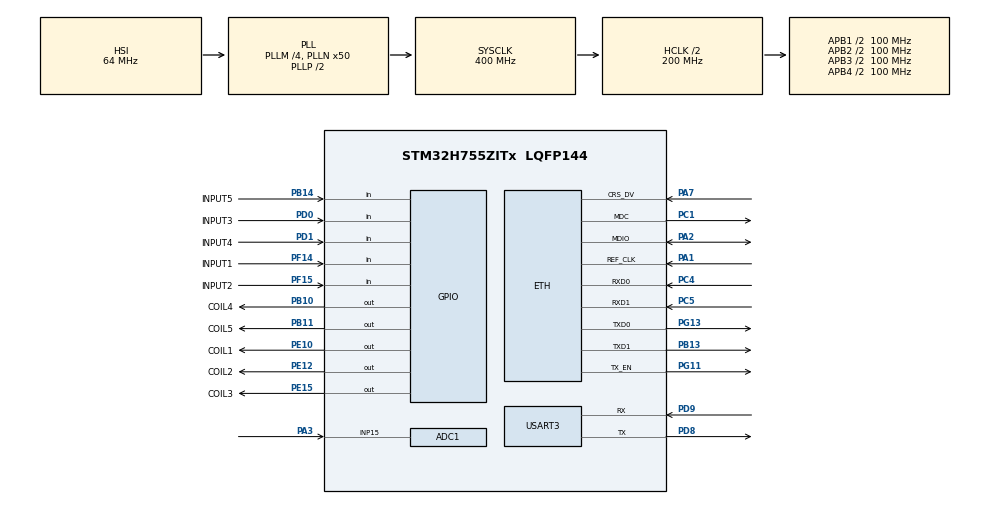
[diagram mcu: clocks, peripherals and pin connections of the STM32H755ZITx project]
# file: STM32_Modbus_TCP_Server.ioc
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ADC1.Channel-0\#ChannelRegularConversion=ADC_CHANNEL_15
ADC1.NbrOfConversionFlag=1
ADC1.OffsetNumber-0\#ChannelRegularConversion=ADC_OFFSET_NONE
ADC1.OffsetSignedSaturation-0\#ChannelRegularConversion=DISABLE
ADC1.Rank-0\#ChannelRegularConversion=1
ADC1.SamplingTime-0\#ChannelRegularConversion=ADC_SAMPLETIME_1CYCLE_5
ADC1.master=1
CORTEX_M7.AccessPermission_S-Cortex_Memory_Protection_Unit_Region1_Settings_S=MPU_REGION_FULL_ACCESS
CORTEX_M7.BaseAddress_S-Cortex_Memory_Protection_Unit_Region1_Settings_S=0x30000000
CORTEX_M7.CPU_DCache=Enabled
CORTEX_M7.CPU_ICache=Enabled
CORTEX_M7.DisableExec_S-Cortex_Memory_Protection_Unit_Region1_Settings_S=MPU_INSTRUCTION_ACCESS_DISABLE
CORTEX_M7.Enable_S-Cortex_Memory_Protection_Unit_Region1_Settings_S=MPU_REGION_ENABLE
CORTEX_M7.IsShareable_S-Cortex_Memory_Protection_Unit_Region1_Settings_S=MPU_ACCESS_SHAREABLE
CORTEX_M7.Size_S-Cortex_Memory_Protection_Unit_Region1_Settings_S=MPU_REGION_SIZE_32KB
CORTEX_M7.TypeExtField_S-Cortex_Memory_Protection_Unit_Region1_Settings_S=MPU_TEX_LEVEL1
CORTEX_M7.default_mode_Activation=1
CortexM4.IPs=FATFS_M4\:I,FREERTOS_M4\:I,IWDG2\:I,RCC,WWDG2\:I,DMA,BDMA,MDMA,NVIC2\:I,DEBUG,PDM2PCM_M4\:I,PWR,RESMGR_UTILITY,SYS_M4\:I,USB_DEVICE_M4\:I,USB_HOST_M4\:I,CORTEX_M4\:I,GPIO,OPENAMP_M4\:I,VREFBUF,NUCLEO-H755ZI-Q
CortexM7.IPs=FATFS_M7\:I,FREERTOS_M7\:I,IWDG1\:I,RCC\:I,WWDG1\:I,DMA\:I,BDMA\:I,MDMA\:I,NVIC1\:I,ETH\:I,USART3\:I,SYS\:I,CORTEX_M7\:I,DEBUG\:I,PDM2PCM_M7\:I,PWR\:I,RESMGR_UTILITY\:I,USB_DEVICE_M7\:I,USB_HOST_M7\:I,GPIO\:I,OPENAMP_M7\:I,VREFBUF\:I,NUCLEO-H755ZI-Q\:I,LWIP\:I,ADC1\:I
CortexM7.Pins=PF14,PF15,PE10,PE12,PE15,PB10,PB11,PB14,PD0,PD1
ETH.MediaInterface=HAL_ETH_RMII_MODE
LWIP.BSP.number=1
LWIP.GATEWAY_ADDRESS=192.168.001.001
LWIP.IP_ADDRESS=192.168.001.100
LWIP.LWIP_DHCP=0
LWIP.LWIP_RAM_HEAP_POINTER=0x30004900
LWIP.MEM_SIZE=10*1024
LWIP.NETMASK_ADDRESS=255.255.255.000
LWIP.Version=v2.2.1_Cube
LWIP0.BSP.STBoard=false
LWIP0.BSP.api=BSP_COMPONENT_DRIVER
LWIP0.BSP.component=LAN8742
LWIP0.BSP.instance=LAN8742
LWIP0.BSP.name=Driver_PHY
LWIP0.BSP.semaphore=S_LAN8742
LWIP0.BSP.solution=LAN8742
Mcu.Family=STM32H7
Mcu.Name=STM32H755ZITx
Mcu.Package=LQFP144
NVIC1.PriorityGroup=NVIC_PRIORITYGROUP_4
NVIC2.PriorityGroup=NVIC_PRIORITYGROUP_4
PA1.Mode=RMII
PA1.PinAttribute=CortexM7
PA1.Signal=ETH_REF_CLK
PA2.Mode=RMII
PA2.PinAttribute=CortexM7
PA2.Signal=ETH_MDIO
PA3.PinAttribute=CortexM7
PA3.Signal=ADCx_INP15
PA7.Mode=RMII
PA7.PinAttribute=CortexM7
PA7.Signal=ETH_CRS_DV
PB10.GPIO_Label=COIL4
PB10.PinAttribute=CortexM7
PB10.Signal=GPIO_Output
PB11.GPIO_Label=COIL5
PB11.PinAttribute=CortexM7
PB11.Signal=GPIO_Output
PB13.Mode=RMII
PB13.PinAttribute=CortexM7
PB13.Signal=ETH_TXD1
PB14.GPIO_Label=INPUT5
PB14.GPIO_PuPd=GPIO_PULLUP
PB14.PinAttribute=CortexM7
PB14.Signal=GPIO_Input
PC1.Mode=RMII
PC1.PinAttribute=CortexM7
PC1.Signal=ETH_MDC
PC4.Mode=RMII
PC4.PinAttribute=CortexM7
PC4.Signal=ETH_RXD0
PC5.Mode=RMII
PC5.PinAttribute=CortexM7
PC5.Signal=ETH_RXD1
PD0.GPIO_Label=INPUT3
PD0.GPIO_PuPd=GPIO_PULLUP
PD0.PinAttribute=CortexM7
PD0.Signal=GPIO_Input
PD1.GPIO_Label=INPUT4
PD1.GPIO_PuPd=GPIO_PULLUP
PD1.PinAttribute=CortexM7
PD1.Signal=GPIO_Input
PD8.Mode=Asynchronous
PD8.PinAttribute=CortexM7
PD8.Signal=USART3_TX
PD9.Mode=Asynchronous
PD9.PinAttribute=CortexM7
PD9.Signal=USART3_RX
PE10.GPIO_Label=COIL1
PE10.PinAttribute=CortexM7
PE10.Signal=GPIO_Output
PE12.GPIO_Label=COIL2
PE12.PinAttribute=CortexM7
PE12.Signal=GPIO_Output
PE15.GPIO_Label=COIL3
PE15.PinAttribute=CortexM7
PE15.Signal=GPIO_Output
PF14.GPIO_Label=INPUT1
PF14.GPIO_PuPd=GPIO_PULLUP
PF14.PinAttribute=CortexM7
PF14.Signal=GPIO_Input
PF15.GPIO_Label=INPUT2
PF15.GPIO_PuPd=GPIO_PULLUP
PF15.PinAttribute=CortexM7
PF15.Signal=GPIO_Input
PG11.Mode=RMII
PG11.PinAttribute=CortexM7
PG11.Signal=ETH_TX_EN
PG13.Mode=RMII
PG13.PinAttribute=CortexM7
PG13.Signal=ETH_TXD0
ProjectManager.HeapSize=M4-0x200,M7-0x200
ProjectManager.StackSize=M4-0x400,M7-0x400
ProjectManager.TargetToolchain=STM32CubeIDE
RCC.ADCCLockSelection=RCC_ADCCLKSOURCE_CLKP
RCC.ADCFreq_Value=64000000
RCC.APB1Freq_Value=100000000
RCC.APB2Freq_Value=100000000
RCC.APB3Freq_Value=100000000
RCC.APB4Freq_Value=100000000
RCC.CortexFreq_Value=400000000
RCC.D1PPRE=RCC_APB3_DIV2
RCC.D2PPRE1=RCC_APB1_DIV2
RCC.D2PPRE2=RCC_APB2_DIV2
RCC.D3PPRE=RCC_APB4_DIV2
RCC.DIVM1=4
RCC.DIVN1=50
RCC.DIVQ1=5
RCC.HCLKFreq_Value=200000000
RCC.HPRE=RCC_HCLK_DIV2
RCC.PLL2FRACN=0
RCC.PLL3FRACN=0
RCC.PLLFRACN=0
RCC.SYSCLKFreq_VALUE=400000000
RCC.SYSCLKSource=RCC_SYSCLKSOURCE_PLLCLK
RCC.SupplySource=PWR_DIRECT_SMPS_SUPPLY
RCC.USART234578CLockSelection=RCC_USART234578CLKSOURCE_HSI
RCC.USBFreq_Value=160000000
SH.ADCx_INP15.0=ADC1_INP15,IN15-Single-Ended
USART3.VirtualMode-Asynchronous=VM_ASYNC
VP_LWIP_VS_Enabled.Mode=Enabled
VP_SYS_M4_VS_Systick.Mode=SysTick
board=NUCLEO-H755ZI-Q

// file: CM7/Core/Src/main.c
/* USER CODE BEGIN Header */
/**
  ******************************************************************************
  * @file           : main.c
  * @brief          : Main program body
  ******************************************************************************
  * @attention
  *
  * Copyright (c) 2026 STMicroelectronics.
  * All rights reserved.
  *
  * This software is licensed under terms that can be found in the LICENSE file
  * in the root directory of this software component.
  * If no LICENSE file comes with this software, it is provided AS-IS.
  *
  ******************************************************************************
  */
/* USER CODE END Header */
#include "main.h"
#include "lwip.h"

/* USER CODE BEGIN Includes */
#include "Modbus_Server.h"
/* USER CODE END Includes */

/* USER CODE BEGIN PD */

/* DUAL_CORE_BOOT_SYNC_SEQUENCE: Define for dual core boot synchronization    */
/*                             demonstration code based on hardware semaphore */
/* This define is present in both CM7/CM4 projects                            */
/* To comment when developping/debugging on a single core                     */
//#define DUAL_CORE_BOOT_SYNC_SEQUENCE

#if defined(DUAL_CORE_BOOT_SYNC_SEQUENCE)
#ifndef HSEM_ID_0
#define HSEM_ID_0 (0U) /* HW semaphore 0*/
#endif
#endif /* DUAL_CORE_BOOT_SYNC_SEQUENCE */

/* USER CODE END PD */

ADC_HandleTypeDef hadc1;

UART_HandleTypeDef huart3;

void SystemClock_Config(void);
void PeriphCommonClock_Config(void);
static void MPU_Config(void);
static void MX_GPIO_Init(void);
static void MX_USART3_UART_Init(void);
static void MX_ADC1_Init(void);

/* USER CODE BEGIN 0 */

int _write(int fd, unsigned char *buf, int len) {
  if (fd == 1 || fd == 2) {
    HAL_UART_Transmit(&huart3, buf, len, 999);
  }
  return len;
}

uint16_t readADC (void)
{
	HAL_ADC_Start(&hadc1);
	HAL_ADC_PollForConversion(&hadc1, 100);
	uint16_t val = HAL_ADC_GetValue(&hadc1);
	HAL_ADC_Stop(&hadc1);
	return val;
}

uint32_t prevTick = 0;

extern void MB_UpdateInputRegisters(void);
extern void MB_UpdateDiscreteInputs(void);
extern void MB_UpdateCoils (void);

/* USER CODE END 0 */

int main(void)
{

/* USER CODE BEGIN Boot_Mode_Sequence_0 */
#if defined(DUAL_CORE_BOOT_SYNC_SEQUENCE)
  int32_t timeout;
#endif /* DUAL_CORE_BOOT_SYNC_SEQUENCE */
/* USER CODE END Boot_Mode_Sequence_0 */

  /* MPU Configuration--------------------------------------------------------*/
  MPU_Config();

  /* Enable the CPU Cache */

  /* Enable I-Cache---------------------------------------------------------*/
  SCB_EnableICache();

  /* Enable D-Cache---------------------------------------------------------*/
  SCB_EnableDCache();

/* USER CODE BEGIN Boot_Mode_Sequence_1 */
#if defined(DUAL_CORE_BOOT_SYNC_SEQUENCE)
  /* Wait until CPU2 boots and enters in stop mode or timeout*/
  timeout = 0xFFFF;
  while((__HAL_RCC_GET_FLAG(RCC_FLAG_D2CKRDY) != RESET) && (timeout-- > 0));
  if ( timeout < 0 )
  {
  Error_Handler();
  }
#endif /* DUAL_CORE_BOOT_SYNC_SEQUENCE */
/* USER CODE END Boot_Mode_Sequence_1 */
  /* MCU Configuration--------------------------------------------------------*/

  /* Reset of all peripherals, Initializes the Flash interface and the Systick. */
  HAL_Init();

  /* Configure the system clock */
  SystemClock_Config();

  /* Configure the peripherals common clocks */
  PeriphCommonClock_Config();
/* USER CODE BEGIN Boot_Mode_Sequence_2 */
#if defined(DUAL_CORE_BOOT_SYNC_SEQUENCE)
/* When system initialization is finished, Cortex-M7 will release Cortex-M4 by means of
HSEM notification */
/*HW semaphore Clock enable*/
__HAL_RCC_HSEM_CLK_ENABLE();
/*Take HSEM */
HAL_HSEM_FastTake(HSEM_ID_0);
/*Release HSEM in order to notify the CPU2(CM4)*/
HAL_HSEM_Release(HSEM_ID_0,0);
/* wait until CPU2 wakes up from stop mode */
timeout = 0xFFFF;
while((__HAL_RCC_GET_FLAG(RCC_FLAG_D2CKRDY) == RESET) && (timeout-- > 0));
if ( timeout < 0 )
{
Error_Handler();
}
#endif /* DUAL_CORE_BOOT_SYNC_SEQUENCE */
/* USER CODE END Boot_Mode_Sequence_2 */

  /* Initialize all configured peripherals */
  MX_GPIO_Init();
  MX_USART3_UART_Init();
  MX_LWIP_Init();
  MX_ADC1_Init();
  /* USER CODE BEGIN 2 */

  Modbus_Server_Init();

  /* USER CODE END 2 */

  /* Infinite loop */
  while (1)
  {

    /* USER CODE BEGIN 3 */

	  MX_LWIP_Process();

	  if ((HAL_GetTick() - prevTick) > 500)
	  {
		  prevTick = HAL_GetTick();
		  MB_UpdateInputRegisters();
		  MB_UpdateDiscreteInputs();
		  MB_UpdateCoils();
	  }
  }
  /* USER CODE END 3 */
}

void SystemClock_Config(void)
{
  RCC_OscInitTypeDef RCC_OscInitStruct = {0};
  RCC_ClkInitTypeDef RCC_ClkInitStruct = {0};

  /** Supply configuration update enable
  */
  HAL_PWREx_ConfigSupply(PWR_DIRECT_SMPS_SUPPLY);

  /** Configure the main internal regulator output voltage
  */
  __HAL_PWR_VOLTAGESCALING_CONFIG(PWR_REGULATOR_VOLTAGE_SCALE1);

  while(!__HAL_PWR_GET_FLAG(PWR_FLAG_VOSRDY)) {}

  /** Initializes the RCC Oscillators according to the specified parameters
  * in the RCC_OscInitTypeDef structure.
  */
  RCC_OscInitStruct.OscillatorType = RCC_OSCILLATORTYPE_HSI;
  RCC_OscInitStruct.HSIState = RCC_HSI_DIV1;
  RCC_OscInitStruct.HSICalibrationValue = RCC_HSICALIBRATION_DEFAULT;
  RCC_OscInitStruct.PLL.PLLState = RCC_PLL_ON;
  RCC_OscInitStruct.PLL.PLLSource = RCC_PLLSOURCE_HSI;
  RCC_OscInitStruct.PLL.PLLM = 4;
  RCC_OscInitStruct.PLL.PLLN = 50;
  RCC_OscInitStruct.PLL.PLLP = 2;
  RCC_OscInitStruct.PLL.PLLQ = 5;
  RCC_OscInitStruct.PLL.PLLR = 2;
  RCC_OscInitStruct.PLL.PLLRGE = RCC_PLL1VCIRANGE_3;
  RCC_OscInitStruct.PLL.PLLVCOSEL = RCC_PLL1VCOWIDE;
  RCC_OscInitStruct.PLL.PLLFRACN = 0;
  if (HAL_RCC_OscConfig(&RCC_OscInitStruct) != HAL_OK)
  {
    Error_Handler();
  }

  /** Initializes the CPU, AHB and APB buses clocks
  */
  RCC_ClkInitStruct.ClockType = RCC_CLOCKTYPE_HCLK|RCC_CLOCKTYPE_SYSCLK
                              |RCC_CLOCKTYPE_PCLK1|RCC_CLOCKTYPE_PCLK2
                              |RCC_CLOCKTYPE_D3PCLK1|RCC_CLOCKTYPE_D1PCLK1;
  RCC_ClkInitStruct.SYSCLKSource = RCC_SYSCLKSOURCE_PLLCLK;
  RCC_ClkInitStruct.SYSCLKDivider = RCC_SYSCLK_DIV1;
  RCC_ClkInitStruct.AHBCLKDivider = RCC_HCLK_DIV2;
  RCC_ClkInitStruct.APB3CLKDivider = RCC_APB3_DIV2;
  RCC_ClkInitStruct.APB1CLKDivider = RCC_APB1_DIV2;
  RCC_ClkInitStruct.APB2CLKDivider = RCC_APB2_DIV2;
  RCC_ClkInitStruct.APB4CLKDivider = RCC_APB4_DIV2;

  if (HAL_RCC_ClockConfig(&RCC_ClkInitStruct, FLASH_LATENCY_2) != HAL_OK)
  {
    Error_Handler();
  }
}

void PeriphCommonClock_Config(void)
{
  RCC_PeriphCLKInitTypeDef PeriphClkInitStruct = {0};

  /** Initializes the peripherals clock
  */
  PeriphClkInitStruct.PeriphClockSelection = RCC_PERIPHCLK_CKPER;
  PeriphClkInitStruct.CkperClockSelection = RCC_CLKPSOURCE_HSI;
  if (HAL_RCCEx_PeriphCLKConfig(&PeriphClkInitStruct) != HAL_OK)
  {
    Error_Handler();
  }
}

static void MX_ADC1_Init(void)
{

  ADC_MultiModeTypeDef multimode = {0};
  ADC_ChannelConfTypeDef sConfig = {0};

  /** Common config
  */
  hadc1.Instance = ADC1;
  hadc1.Init.ClockPrescaler = ADC_CLOCK_ASYNC_DIV1;
  hadc1.Init.Resolution = ADC_RESOLUTION_16B;
  hadc1.Init.ScanConvMode = ADC_SCAN_DISABLE;
  hadc1.Init.EOCSelection = ADC_EOC_SINGLE_CONV;
  hadc1.Init.LowPowerAutoWait = DISABLE;
  hadc1.Init.ContinuousConvMode = DISABLE;
  hadc1.Init.NbrOfConversion = 1;
  hadc1.Init.DiscontinuousConvMode = DISABLE;
  hadc1.Init.ExternalTrigConv = ADC_SOFTWARE_START;
  hadc1.Init.ExternalTrigConvEdge = ADC_EXTERNALTRIGCONVEDGE_NONE;
  hadc1.Init.ConversionDataManagement = ADC_CONVERSIONDATA_DR;
  hadc1.Init.Overrun = ADC_OVR_DATA_PRESERVED;
  hadc1.Init.LeftBitShift = ADC_LEFTBITSHIFT_NONE;
  hadc1.Init.OversamplingMode = DISABLE;
  hadc1.Init.Oversampling.Ratio = 1;
  if (HAL_ADC_Init(&hadc1) != HAL_OK)
  {
    Error_Handler();
  }

  /** Configure the ADC multi-mode
  */
  multimode.Mode = ADC_MODE_INDEPENDENT;
  if (HAL_ADCEx_MultiModeConfigChannel(&hadc1, &multimode) != HAL_OK)
  {
    Error_Handler();
  }

  /** Configure Regular Channel
  */
  sConfig.Channel = ADC_CHANNEL_15;
  sConfig.Rank = ADC_REGULAR_RANK_1;
  sConfig.SamplingTime = ADC_SAMPLETIME_1CYCLE_5;
  sConfig.SingleDiff = ADC_SINGLE_ENDED;
  sConfig.OffsetNumber = ADC_OFFSET_NONE;
  sConfig.Offset = 0;
  sConfig.OffsetSignedSaturation = DISABLE;
  if (HAL_ADC_ConfigChannel(&hadc1, &sConfig) != HAL_OK)
  {
    Error_Handler();
  }

}

static void MX_USART3_UART_Init(void)
{

  huart3.Instance = USART3;
  huart3.Init.BaudRate = 115200;
  huart3.Init.WordLength = UART_WORDLENGTH_8B;
  huart3.Init.StopBits = UART_STOPBITS_1;
  huart3.Init.Parity = UART_PARITY_NONE;
  huart3.Init.Mode = UART_MODE_TX_RX;
  huart3.Init.HwFlowCtl = UART_HWCONTROL_NONE;
  huart3.Init.OverSampling = UART_OVERSAMPLING_16;
  huart3.Init.OneBitSampling = UART_ONE_BIT_SAMPLE_DISABLE;
  huart3.Init.ClockPrescaler = UART_PRESCALER_DIV1;
  huart3.AdvancedInit.AdvFeatureInit = UART_ADVFEATURE_NO_INIT;
  if (HAL_UART_Init(&huart3) != HAL_OK)
  {
    Error_Handler();
  }
  if (HAL_UARTEx_SetTxFifoThreshold(&huart3, UART_TXFIFO_THRESHOLD_1_8) != HAL_OK)
  {
    Error_Handler();
  }
  if (HAL_UARTEx_SetRxFifoThreshold(&huart3, UART_RXFIFO_THRESHOLD_1_8) != HAL_OK)
  {
    Error_Handler();
  }
  if (HAL_UARTEx_DisableFifoMode(&huart3) != HAL_OK)
  {
    Error_Handler();
  }

}

static void MX_GPIO_Init(void)
{
  GPIO_InitTypeDef GPIO_InitStruct = {0};

  /* GPIO Ports Clock Enable */
  __HAL_RCC_GPIOC_CLK_ENABLE();
  __HAL_RCC_GPIOA_CLK_ENABLE();
  __HAL_RCC_GPIOF_CLK_ENABLE();
  __HAL_RCC_GPIOE_CLK_ENABLE();
  __HAL_RCC_GPIOB_CLK_ENABLE();
  __HAL_RCC_GPIOD_CLK_ENABLE();
  __HAL_RCC_GPIOG_CLK_ENABLE();

  /*Configure GPIO pin Output Level */
  HAL_GPIO_WritePin(GPIOE, COIL1_Pin|COIL2_Pin|COIL3_Pin, GPIO_PIN_RESET);

  /*Configure GPIO pin Output Level */
  HAL_GPIO_WritePin(GPIOB, COIL4_Pin|COIL5_Pin, GPIO_PIN_RESET);

  /*Configure GPIO pins : INPUT1_Pin INPUT2_Pin */
  GPIO_InitStruct.Pin = INPUT1_Pin|INPUT2_Pin;
  GPIO_InitStruct.Mode = GPIO_MODE_INPUT;
  GPIO_InitStruct.Pull = GPIO_PULLUP;
  HAL_GPIO_Init(GPIOF, &GPIO_InitStruct);

  /*Configure GPIO pins : COIL1_Pin COIL2_Pin COIL3_Pin */
  GPIO_InitStruct.Pin = COIL1_Pin|COIL2_Pin|COIL3_Pin;
  GPIO_InitStruct.Mode = GPIO_MODE_OUTPUT_PP;
  GPIO_InitStruct.Pull = GPIO_NOPULL;
  GPIO_InitStruct.Speed = GPIO_SPEED_FREQ_LOW;
  HAL_GPIO_Init(GPIOE, &GPIO_InitStruct);

  /*Configure GPIO pins : COIL4_Pin COIL5_Pin */
  GPIO_InitStruct.Pin = COIL4_Pin|COIL5_Pin;
  GPIO_InitStruct.Mode = GPIO_MODE_OUTPUT_PP;
  GPIO_InitStruct.Pull = GPIO_NOPULL;
  GPIO_InitStruct.Speed = GPIO_SPEED_FREQ_LOW;
  HAL_GPIO_Init(GPIOB, &GPIO_InitStruct);

  /*Configure GPIO pin : INPUT5_Pin */
  GPIO_InitStruct.Pin = INPUT5_Pin;
  GPIO_InitStruct.Mode = GPIO_MODE_INPUT;
  GPIO_InitStruct.Pull = GPIO_PULLUP;
  HAL_GPIO_Init(INPUT5_GPIO_Port, &GPIO_InitStruct);

  /*Configure GPIO pins : INPUT3_Pin INPUT4_Pin */
  GPIO_InitStruct.Pin = INPUT3_Pin|INPUT4_Pin;
  GPIO_InitStruct.Mode = GPIO_MODE_INPUT;
  GPIO_InitStruct.Pull = GPIO_PULLUP;
  HAL_GPIO_Init(GPIOD, &GPIO_InitStruct);

}

 /* MPU Configuration */

void MPU_Config(void)
{
  MPU_Region_InitTypeDef MPU_InitStruct = {0};

  /* Disables the MPU */
  HAL_MPU_Disable();

  /** Initializes and configures the Region and the memory to be protected
  */
  MPU_InitStruct.Enable = MPU_REGION_ENABLE;
  MPU_InitStruct.Number = MPU_REGION_NUMBER0;
  MPU_InitStruct.BaseAddress = 0x0;
  MPU_InitStruct.Size = MPU_REGION_SIZE_4GB;
  MPU_InitStruct.SubRegionDisable = 0x87;
  MPU_InitStruct.TypeExtField = MPU_TEX_LEVEL0;
  MPU_InitStruct.AccessPermission = MPU_REGION_NO_ACCESS;
  MPU_InitStruct.DisableExec = MPU_INSTRUCTION_ACCESS_DISABLE;
  MPU_InitStruct.IsShareable = MPU_ACCESS_SHAREABLE;
  MPU_InitStruct.IsCacheable = MPU_ACCESS_NOT_CACHEABLE;
  MPU_InitStruct.IsBufferable = MPU_ACCESS_NOT_BUFFERABLE;

  HAL_MPU_ConfigRegion(&MPU_InitStruct);

  /** Initializes and configures the Region and the memory to be protected
  */
  MPU_InitStruct.Number = MPU_REGION_NUMBER1;
  MPU_InitStruct.BaseAddress = 0x30000000;
  MPU_InitStruct.Size = MPU_REGION_SIZE_32KB;
  MPU_InitStruct.SubRegionDisable = 0x0;
  MPU_InitStruct.TypeExtField = MPU_TEX_LEVEL1;
  MPU_InitStruct.AccessPermission = MPU_REGION_FULL_ACCESS;

  HAL_MPU_ConfigRegion(&MPU_InitStruct);
  /* Enables the MPU */
  HAL_MPU_Enable(MPU_PRIVILEGED_DEFAULT);

}

void Error_Handler(void)
{
  __disable_irq();
  while (1)
  {
  }
}
